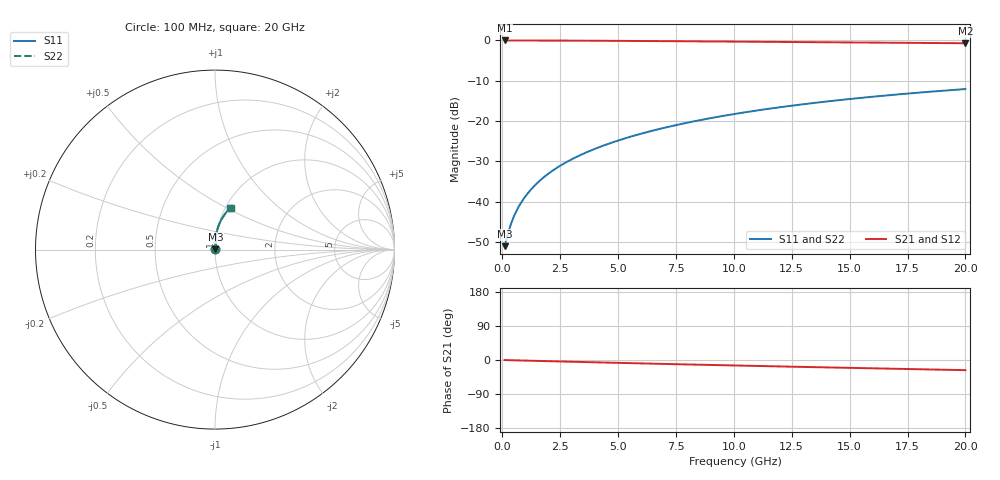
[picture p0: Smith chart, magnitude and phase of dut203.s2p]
! Touchstone file exported from HFSS 2024.1.0
!  File:  C:/UserFiles/LocalFiles/RDL_TSV_Batchsim/temp_RDL_top_203_1778687062.aedt
!  Generated:  11:46:37 PM May 13, 2026
!  Design:  RDL_top
!  Project:  temp_RDL_top_203_1778687062
!  Setup:  Setup1
!  Solution:  Sweep
! Variables:
!  dtsv = 10.80580581um
!  hbump = 3um
!  htsv = 69.24um
!  ldown = 100um
!  lrdl = 383.52um
!  p = 40
!  p1 = 41.66um
!  rhole = 1um
!  t = 450um
!  tdown = 3.915915916um
!  trdl = 2.81um
!  wdown = 15.38538539um
!  wrdl = 21.56um
# GHz S MA R 50.000000
! Terminal data exported
! Port[1] = Box2_T1
! Port[2] = Box2_T2
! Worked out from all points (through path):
!   200 points, 100 MHz to 20 GHz, reference 50 ohm
!   highest |S21| = -0.02 dB at 100 MHz (marker M1); lowest = -0.7 dB at 20 GHz (marker M2)
!   group delay of S21, straight-line fit = 3.69 ps
!   lowest |S11| = -51.0 dB at 100 MHz (marker M3), VSWR 1.01, Z = 50.3 + j0.126 ohm
!   |S11| at or under -10 dB: start of sweep to end of sweep
!   |S22| runs from -51.0 to -12.1 dB; largest |S21 - S12| = 3.9e-15
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0.1  0.002802 26.6  0.9975 -0.2  0.9975 -0.2  0.002802 26.6
! Gamma 0 0 0 0
! Port Impedance 50 0 50 0
0.3  0.004537 53.4  0.9972 -0.5  0.9972 -0.5  0.004537 53.4
0.4  0.005533 59.4  0.9971 -0.6  0.9971 -0.6  0.005533 59.4
0.5  0.006539 63.6  0.997 -0.8  0.997 -0.8  0.006539 63.6
0.6  0.007548 66.7  0.9968 -1.0  0.9968 -1.0  0.007548 66.7
0.8  0.00958 71.2  0.9966 -1.3  0.9966 -1.3  0.00958 71.2
1  0.01164 74.4  0.9963 -1.6  0.9963 -1.6  0.01164 74.4
1.2  0.01373 76.7  0.9961 -1.9  0.9961 -1.9  0.01373 76.7
1.4  0.01584 78.4  0.9958 -2.2  0.9958 -2.2  0.01584 78.4
1.7  0.01906 80.4  0.9954 -2.6  0.9954 -2.6  0.01906 80.4
2.2  0.02452 82.6  0.9945 -3.4  0.9945 -3.4  0.02452 82.6
2.8  0.03123 84.2  0.9931 -4.3  0.9931 -4.3  0.03123 84.2
3.5  0.03927 85.3  0.9913 -5.4  0.9913 -5.4  0.03927 85.2
4.2  0.04752 85.8  0.9891 -6.4  0.9891 -6.4  0.04752 85.8
5  0.05721 86.1  0.9863 -7.6  0.9863 -7.6  0.0572 86.1
6.8  0.07985 85.5  0.9793 -10.1  0.9793 -10.1  0.07984 85.5
8.4  0.1007 84.3  0.9725 -12.3  0.9725 -12.3  0.1006 84.3
10.1  0.1231 82.5  0.9651 -14.6  0.9651 -14.6  0.1231 82.5
11.7  0.1443 80.6  0.958 -16.6  0.958 -16.6  0.1443 80.6
13.4  0.1667 78.4  0.9505 -18.8  0.9505 -18.8  0.1666 78.4
16.7  0.2089 74.1  0.9358 -22.9  0.9358 -22.9  0.2088 74.0
20  0.249 69.7  0.921 -26.8  0.921 -26.8  0.249 69.7
